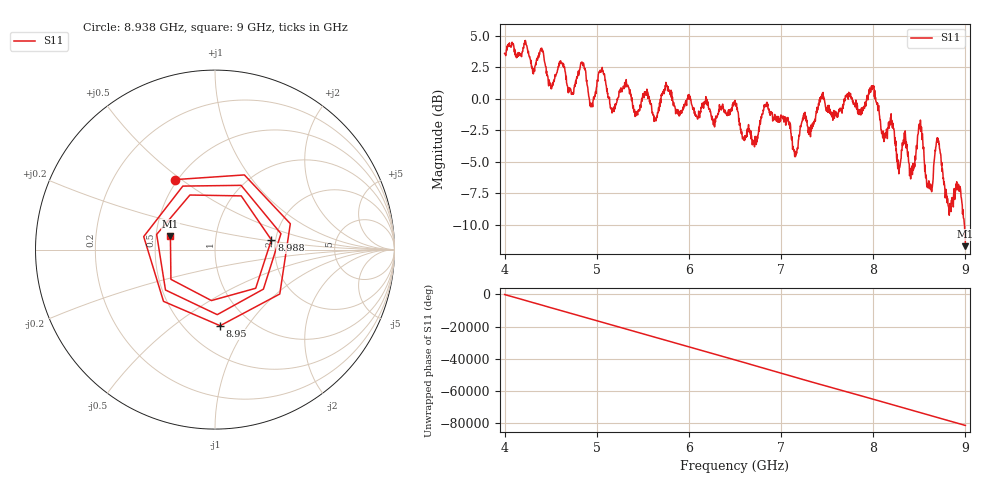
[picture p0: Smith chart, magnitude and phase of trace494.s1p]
! Created with skrf 1.8.0 (http://scikit-rf.org).
# Hz S RI R 50.0
!freq ReS11 ImS11
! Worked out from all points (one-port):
!   1601 points, 4 GHz to 9 GHz, reference 50 ohm
!   lowest |S11| = -11.7 dB at 9 GHz (marker M1), VSWR 1.70, Z = 29.8 + j4.77 ohm
!   |S11| at or under -10 dB: 8.989259 GHz to end of sweep
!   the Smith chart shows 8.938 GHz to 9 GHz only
!   S11 on the Smith chart (normalised r, x): 8.938 GHz: 0.49, +0.47; 8.95 GHz: 0.73, -0.75; 8.988 GHz: 1.90, +0.23; 9 GHz: 0.60, +0.10
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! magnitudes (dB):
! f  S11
! 4 GHz  3.6
! 4.4 GHz  4.0
! 4.5 GHz  1.2
! 4.625 GHz  2.8
! 4.722 GHz  0.5
! 4.853 GHz  2.8
! 4.938 GHz  -0.7
! 5.044 GHz  2.2
! 5.169 GHz  -1.0
! 5.25 GHz  0.5
! 5.875 GHz  -1.0
! 6.5 GHz  -0.1
! 6.594 GHz  -3.1
! 6.841 GHz  -0.6
! 7.125 GHz  -4.0
! 7.75 GHz  0.2
! 7.991 GHz  0.8
! 8.109 GHz  -2.6
! 8.375 GHz  -4.6
! 8.425 GHz  -6.0
! 8.509 GHz  -2.2
! 8.606 GHz  -6.6
! 8.697 GHz  -3.1
! 8.819 GHz  -8.6
! 8.938 GHz  -7.0
! 8.95 GHz  -7.4
! 8.988 GHz  -9.9
! 9 GHz  -11.7
